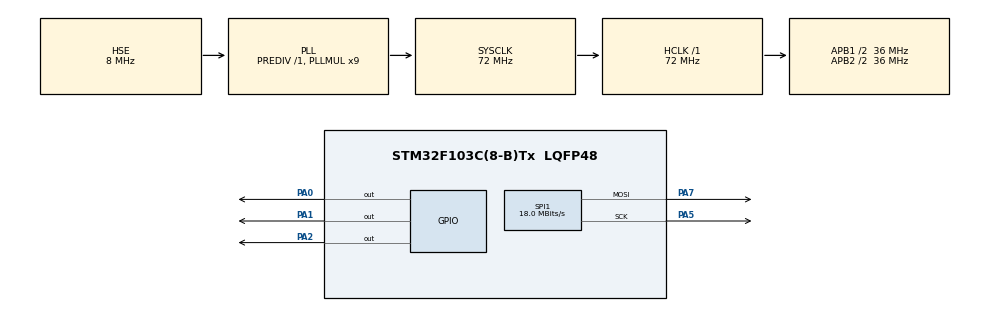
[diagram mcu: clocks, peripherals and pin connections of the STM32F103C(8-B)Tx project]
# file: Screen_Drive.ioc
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Mcu.Family=STM32F1
Mcu.Name=STM32F103C(8-B)Tx
Mcu.Package=LQFP48
NVIC.PriorityGroup=NVIC_PRIORITYGROUP_4
PA0-WKUP.PinState=GPIO_PIN_SET
PA0-WKUP.Signal=GPIO_Output
PA1.PinState=GPIO_PIN_SET
PA1.Signal=GPIO_Output
PA13.Mode=Serial_Wire
PA13.Signal=SYS_JTMS-SWDIO
PA14.Mode=Serial_Wire
PA14.Signal=SYS_JTCK-SWCLK
PA2.PinState=GPIO_PIN_SET
PA2.Signal=GPIO_Output
PA5.Mode=TX_Only_Simplex_Unidirect_Master
PA5.Signal=SPI1_SCK
PA7.Mode=TX_Only_Simplex_Unidirect_Master
PA7.Signal=SPI1_MOSI
PD0-OSC_IN.Mode=HSE-External-Oscillator
PD0-OSC_IN.Signal=RCC_OSC_IN
PD1-OSC_OUT.Mode=HSE-External-Oscillator
PD1-OSC_OUT.Signal=RCC_OSC_OUT
ProjectManager.HeapSize=0x200
ProjectManager.StackSize=0x400
ProjectManager.TargetToolchain=STM32CubeIDE
RCC.AHBFreq_Value=72000000
RCC.APB1CLKDivider=RCC_HCLK_DIV2
RCC.APB1Freq_Value=36000000
RCC.APB1TimFreq_Value=72000000
RCC.APB2CLKDivider=RCC_HCLK_DIV2
RCC.APB2Freq_Value=36000000
RCC.APB2TimFreq_Value=72000000
RCC.HCLKFreq_Value=72000000
RCC.PLLMUL=RCC_PLL_MUL9
RCC.PLLSourceVirtual=RCC_PLLSOURCE_HSE
RCC.SYSCLKFreq_VALUE=72000000
RCC.SYSCLKSource=RCC_SYSCLKSOURCE_PLLCLK
RCC.USBFreq_Value=72000000
SPI1.BaudRatePrescaler=SPI_BAUDRATEPRESCALER_2
SPI1.CalculateBaudRate=18.0 MBits/s
SPI1.Direction=SPI_DIRECTION_2LINES
SPI1.Mode=SPI_MODE_MASTER
SPI1.VirtualType=VM_MASTER
board=custom

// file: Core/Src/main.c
/* USER CODE BEGIN Header */
/**
  ******************************************************************************
  * @file           : main.c
  * @brief          : Main program body
  ******************************************************************************
  * @attention
  *
  * Copyright (c) 2024 STMicroelectronics.
  * All rights reserved.
  *
  * This software is licensed under terms that can be found in the LICENSE file
  * in the root directory of this software component.
  * If no LICENSE file comes with this software, it is provided AS-IS.
  *
  ******************************************************************************
  */
/* USER CODE END Header */
#include "main.h"
#include "spi.h"
#include "gpio.h"

/* USER CODE BEGIN Includes */
#include "lcd.h"
/* USER CODE END Includes */

void SystemClock_Config(void);

/* USER CODE BEGIN 0 */
void lcd_clear_test(void){

	for(int i = 0; i < 8; i++) {
		switch (i) {  //�л�����ɫ
			case 0: lcd_set_color(RGB565_RED, RGB565_WHITE); break;
			case 1: lcd_set_color(RGB565_RED, RGB565_BLACK); break;
			case 2: lcd_set_color(RGB565_RED, RGB565_BLUE); break;
			case 3: lcd_set_color(RGB565_RED, RGB565_PURPLE); break;
			case 4: lcd_set_color(RGB565_RED, RGB565_PINK); break;
			case 5: lcd_set_color(RGB565_RED, RGB565_MAGENTA); break;
			case 6: lcd_set_color(RGB565_RED, RGB565_GREEN); break;
			case 7: lcd_set_color(RGB565_RED, RGB565_CYAN); break;
			default: break;
		}
		lcd_clear();  // ����
		HAL_Delay(1000);  // ��ʱ

	}
}
/* USER CODE END 0 */

int main(void)
{

  /* MCU Configuration--------------------------------------------------------*/

  /* Reset of all peripherals, Initializes the Flash interface and the Systick. */
  HAL_Init();

  /* Configure the system clock */
  SystemClock_Config();

  /* Initialize all configured peripherals */
  MX_GPIO_Init();
  MX_SPI1_Init();
  /* USER CODE BEGIN 2 */
  lcd_set_dir(LCD_PORTAIT);
  lcd_init();
  lcd_set_color(RGB565_RED, RGB565_BLACK);
  lcd_full(RGB565_BLACK);
  /* USER CODE END 2 */

  /* Infinite loop */
  while (1)
  {

    /* USER CODE BEGIN 3 */
	lcd_clear_test();
  }
  /* USER CODE END 3 */
}

void SystemClock_Config(void)
{
  RCC_OscInitTypeDef RCC_OscInitStruct = {0};
  RCC_ClkInitTypeDef RCC_ClkInitStruct = {0};

  /** Initializes the RCC Oscillators according to the specified parameters
  * in the RCC_OscInitTypeDef structure.
  */
  RCC_OscInitStruct.OscillatorType = RCC_OSCILLATORTYPE_HSE;
  RCC_OscInitStruct.HSEState = RCC_HSE_ON;
  RCC_OscInitStruct.HSEPredivValue = RCC_HSE_PREDIV_DIV1;
  RCC_OscInitStruct.HSIState = RCC_HSI_ON;
  RCC_OscInitStruct.PLL.PLLState = RCC_PLL_ON;
  RCC_OscInitStruct.PLL.PLLSource = RCC_PLLSOURCE_HSE;
  RCC_OscInitStruct.PLL.PLLMUL = RCC_PLL_MUL9;
  if (HAL_RCC_OscConfig(&RCC_OscInitStruct) != HAL_OK)
  {
    Error_Handler();
  }

  /** Initializes the CPU, AHB and APB buses clocks
  */
  RCC_ClkInitStruct.ClockType = RCC_CLOCKTYPE_HCLK|RCC_CLOCKTYPE_SYSCLK
                              |RCC_CLOCKTYPE_PCLK1|RCC_CLOCKTYPE_PCLK2;
  RCC_ClkInitStruct.SYSCLKSource = RCC_SYSCLKSOURCE_PLLCLK;
  RCC_ClkInitStruct.AHBCLKDivider = RCC_SYSCLK_DIV1;
  RCC_ClkInitStruct.APB1CLKDivider = RCC_HCLK_DIV2;
  RCC_ClkInitStruct.APB2CLKDivider = RCC_HCLK_DIV2;

  if (HAL_RCC_ClockConfig(&RCC_ClkInitStruct, FLASH_LATENCY_2) != HAL_OK)
  {
    Error_Handler();
  }
}

void Error_Handler(void)
{
  __disable_irq();
  while (1)
  {
  }
}
